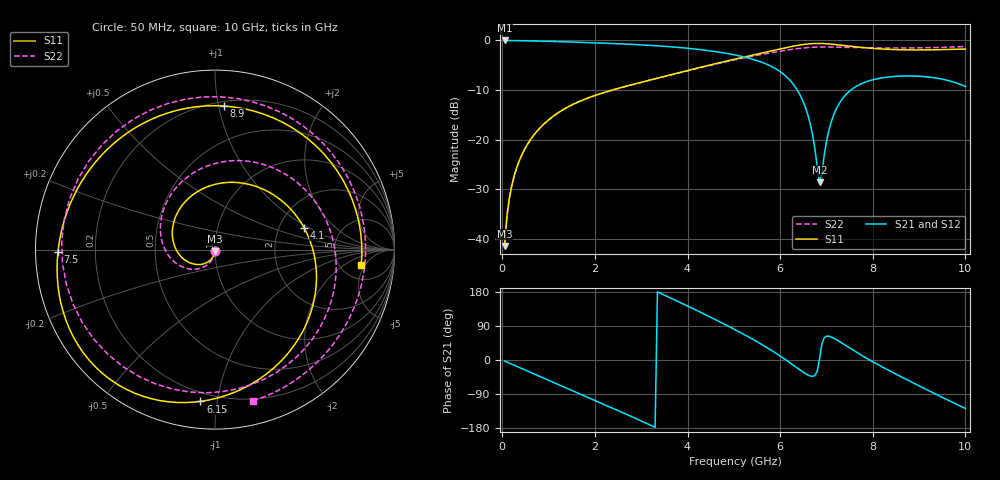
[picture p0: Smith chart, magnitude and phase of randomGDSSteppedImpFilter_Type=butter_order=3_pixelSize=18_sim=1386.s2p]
! freq	dB(S11)	phase(S11)	dB(S12)	phase(S12)
!  dB(S21)	phase(S21)	dB(S22)	phase(S22)
!S-par simulation data
#  GHz  S  DB  R 50
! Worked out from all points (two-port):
!   200 points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, 50 MHz to 10 GHz, reference 50 ohm
!   highest |S21| = 0.00 dB at 50 MHz (marker M1); lowest = -28.6 dB at 6.85 GHz (marker M2)
!   |S21| within 3 dB of the highest: start of sweep to 5.061 GHz
!   lowest |S11| = -41.5 dB at 50 MHz (marker M3), VSWR 1.02, Z = 50 - j0.84 ohm
!   |S11| at or under -10 dB: start of sweep to 2.378 GHz
!   |S22| runs from -41.5 to -1.2 dB; largest |S21 - S12| = 0
!   S11 on the Smith chart (normalised r, x): 50 MHz: 1.00, -0.02; 4.1 GHz: 2.74, +0.91; 6.15 GHz: 0.15, -0.90; 7.5 GHz: 0.07, -0.01; 8.9 GHz: 0.23, +1.04; 10 GHz: 7.82, -4.17
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0.05  -41.50 -92.7  -0.00 -2.7  -0.00 -2.7  -41.51 -91.9
0.2  -29.49 -102.5  -0.02 -10.8  -0.02 -10.8  -29.50 -99.3
0.5  -21.67 -121.2  -0.07 -26.8  -0.07 -26.8  -21.66 -113.4
1.15  -14.95 -161.6  -0.22 -61.4  -0.22 -61.4  -14.95 -142.8
1.75  -11.98 160.8  -0.40 -93.3  -0.40 -93.3  -11.98 -169.1
2.65  -9.30 103.2  -0.73 -141.6  -0.73 -141.6  -9.32 151.7
3.4  -7.49 55.7  -1.12 176.9  -1.12 176.9  -7.53 116.3
4.1  -5.84 13.9  -1.67 136.6  -1.67 136.6  -5.90 77.9
4.6  -4.69 -14.0  -2.25 106.7  -2.25 106.7  -4.78 46.2
5.05  -3.71 -37.8  -2.98 78.5  -2.98 78.5  -3.85 13.9
5.65  -2.45 -68.8  -4.57 37.5  -4.57 37.5  -2.74 -37.6
6.15  -1.41 -95.5  -7.45 -2.0  -7.45 -2.0  -1.94 -93.6
6.4  -0.96 -110.1  -10.50 -23.9  -10.50 -23.9  -1.62 -128.1
6.7  -0.63 -129.0  -19.01 -43.4  -19.01 -43.4  -1.38 -174.9
6.85  -0.60 -138.8  -28.61 2.4  -28.61 2.4  -1.33 160.8
7.15  -0.78 -157.9  -15.18 58.1  -15.18 58.1  -1.35 114.9
7.5  -1.16 -179.2  -10.22 31.5  -10.22 31.5  -1.43 70.3
7.9  -1.53 156.5  -8.20 2.2  -8.20 2.2  -1.49 31.7
8.35  -1.80 127.0  -7.37 -27.7  -7.37 -27.7  -1.52 -0.4
8.9  -1.92 86.3  -7.18 -62.0  -7.18 -62.0  -1.51 -30.0
9.55  -1.83 32.8  -7.91 -101.5  -7.91 -101.5  -1.37 -57.9
10  -1.73 -6.1  -9.30 -127.8  -9.30 -127.8  -1.23 -75.9
